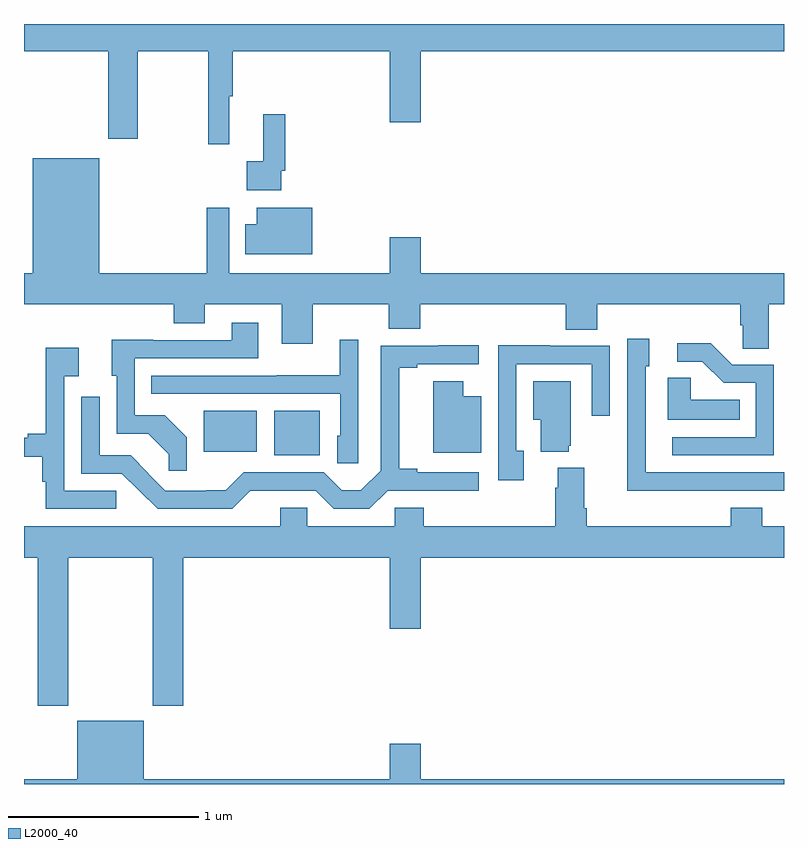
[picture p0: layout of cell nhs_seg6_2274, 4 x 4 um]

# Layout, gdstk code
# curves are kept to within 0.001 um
import gdstk
lib = gdstk.Library(unit=1e-6, precision=1e-09)
def R(c, l, rs):  # rectangles x0, y0, x1, y1
    for r in rs: c.add(gdstk.rectangle(r[:2], r[2:], *l))
def P(c, l, *ps):  # polygons
    for p in ps: c.add(gdstk.Polygon(p, *l))
L2000_40 = (2000, 40)

nhs_seg6_2274 = lib.new_cell('nhs_seg6_2274')
R(nhs_seg6_2274, L2000_40, [(248.318,925.229,248.557,925.465), (247.946,925.25,248.224,925.465)])
P(nhs_seg6_2274, L2000_40, [(248.081,927.12),(248.099,927.12),(248.099,927.356),(248.924,927.356),(248.924,926.982),(249.088,926.982),(249.088,927.356),(251,927.356),(251,927.5),(247,927.5),(247,927.356),(247.444,927.356),(247.444,926.895),(247.599,926.895),(247.599,927.356),(247.971,927.356),(247.971,926.868),(248.081,926.868)],
  [(248.355,926.728),(248.375,926.728),(248.375,927.025),(248.258,927.025),(248.258,926.777),(248.172,926.777),(248.172,926.624),(248.355,926.624)],
  [(250.921,926.024),(251,926.024),(251,926.188),(249.088,926.188),(249.088,926.377),(248.924,926.377),(248.924,926.188),(248.079,926.188),(248.079,926.533),(247.963,926.533),(247.963,926.188),(247.396,926.188),(247.396,926.794),(247.046,926.794),(247.046,926.188),(247,926.188),(247,926.024),(247.787,926.024),(247.787,925.925),(247.951,925.925),(247.951,926.024),(248.357,926.024),(248.357,925.818),(248.521,925.818),(248.521,926.024),(248.921,926.024),(248.921,925.896),(249.085,925.896),(249.085,926.024),(249.851,926.024),(249.851,925.891),(250.016,925.891),(250.016,926.024),(250.769,926.024),(250.769,925.915),(250.782,925.915),(250.782,925.792),(250.921,925.792)],
  [(248.518,926.533),(248.225,926.533),(248.225,926.446),(248.164,926.446),(248.164,926.288),(248.518,926.288)],
  [(247.857,925.324),(247.741,925.44),(247.584,925.44),(247.584,925.74),(248.233,925.74),(248.233,925.927),(248.093,925.927),(248.093,925.836),(247.681,925.836),(247.681,925.838),(247.463,925.838),(247.463,925.65),(247.488,925.65),(247.488,925.344),(247.654,925.344),(247.762,925.236),(247.762,925.149),(247.857,925.149)],
  [(250.637,925.044),(251,925.044),(251,925.14),(250.272,925.14),(250.272,925.698),(250.291,925.698),(250.291,925.843),(250.176,925.843),(250.176,925.349),(250.174,925.349),(250.174,925.043),(250.637,925.043)],
  [(248.76,925.837),(248.663,925.837),(248.663,925.651),(248.329,925.651),(248.329,925.65),(247.669,925.65),(247.669,925.554),(248.664,925.554),(248.664,925.332),(248.648,925.332),(248.648,925.189),(248.76,925.189)],
  [(250.947,925.707),(250.728,925.707),(250.615,925.82),(250.437,925.82),(250.437,925.722),(250.571,925.722),(250.682,925.611),(250.851,925.611),(250.851,925.326),(250.413,925.326),(250.413,925.23),(250.947,925.23)],
  [(248.192,925.043),(248.535,925.044),(248.631,924.948),(248.818,924.948),(248.914,925.044),(249.394,925.043),(249.394,925.14),(249.07,925.14),(249.07,925.16),(248.975,925.16),(248.975,925.69),(249.07,925.69),(249.07,925.71),(249.394,925.71),(249.394,925.808),(249.181,925.808),(249.181,925.806),(248.877,925.806),(248.877,925.149),(248.773,925.045),(248.672,925.045),(248.577,925.14),(248.157,925.14),(248.063,925.046),(247.958,925.046),(247.958,925.044),(247.743,925.044),(247.653,925.134),(247.655,925.136),(247.561,925.23),(247.398,925.23),(247.398,925.537),(247.302,925.537),(247.302,925.134),(247.515,925.134),(247.703,924.948),(248.097,924.948)],
  [(249.631,925.254),(249.591,925.254),(249.591,925.71),(249.987,925.71),(249.987,925.437),(250.083,925.437),(250.083,925.806),(249.767,925.806),(249.767,925.808),(249.495,925.808),(249.495,925.098),(249.631,925.098)],
  [(247.485,925.044),(247.212,925.044),(247.212,925.646),(247.288,925.646),(247.288,925.795),(247.115,925.795),(247.115,925.343),(247.019,925.343),(247.019,925.323),(247,925.323),(247,925.222),(247.096,925.222),(247.096,925.091),(247.115,925.091),(247.115,924.948),(247.485,924.948)],
  [(250.766,925.522),(250.509,925.522),(250.509,925.637),(250.388,925.637),(250.388,925.418),(250.766,925.418)],
  [(249.406,925.54),(249.313,925.54),(249.313,925.621),(249.155,925.621),(249.155,925.244),(249.406,925.244)],
  [(249.866,925.281),(249.877,925.281),(249.877,925.621),(249.68,925.621),(249.68,925.418),(249.719,925.418),(249.719,925.25),(249.866,925.25)],
  [(247.233,924.692),(247.678,924.692),(247.678,923.913),(247.838,923.913),(247.838,924.692),(248.924,924.692),(248.924,924.318),(249.088,924.318),(249.088,924.692),(251,924.692),(251,924.856),(250.886,924.856),(250.886,924.955),(250.721,924.955),(250.721,924.856),(249.962,924.856),(249.962,924.952),(249.949,924.952),(249.949,925.165),(249.809,925.165),(249.809,925.058),(249.797,925.058),(249.797,924.856),(249.104,924.856),(249.104,924.954),(248.952,924.954),(248.952,924.856),(248.49,924.856),(248.49,924.954),(248.348,924.954),(248.348,924.856),(247,924.856),(247,924.692),(247.073,924.692),(247.073,923.913),(247.233,923.913)],
  [(251,923.524),(249.088,923.524),(249.088,923.713),(248.924,923.713),(248.924,923.524),(247.63,923.524),(247.63,923.833),(247.28,923.833),(247.28,923.524),(247,923.524),(247,923.5),(251,923.5)])

lib.write_gds('nhs_seg6_2274.gds')
